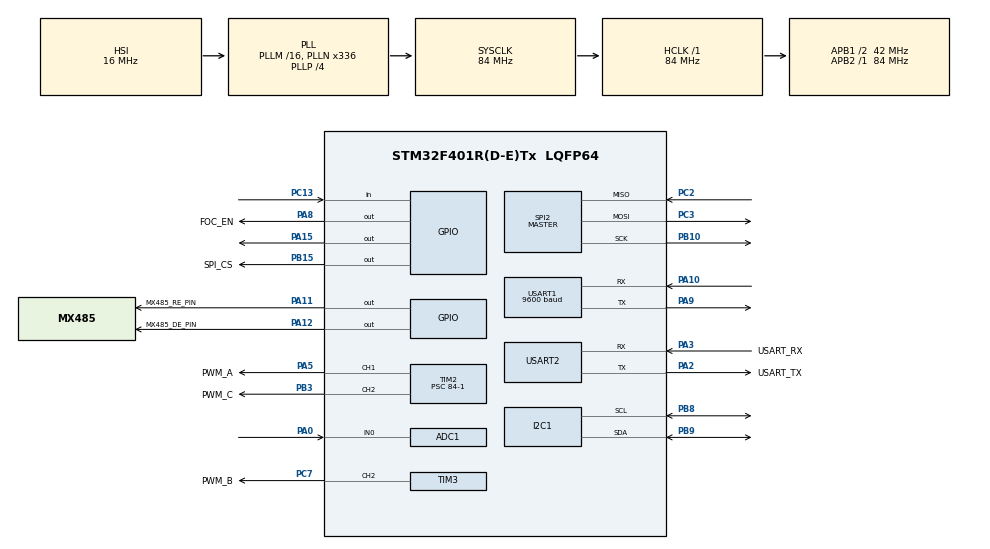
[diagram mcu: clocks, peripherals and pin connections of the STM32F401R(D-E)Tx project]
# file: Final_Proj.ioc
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ADC1.Channel-0\#ChannelRegularConversion=ADC_CHANNEL_0
ADC1.ContinuousConvMode=ENABLE
ADC1.DMAContinuousRequests=ENABLE
ADC1.NbrOfConversionFlag=1
ADC1.Rank-0\#ChannelRegularConversion=1
ADC1.SamplingTime-0\#ChannelRegularConversion=ADC_SAMPLETIME_3CYCLES
ADC1.ScanConvMode=ENABLE
ADC1.master=1
Dma.ADC1.0.Direction=DMA_PERIPH_TO_MEMORY
Dma.ADC1.0.FIFOMode=DMA_FIFOMODE_DISABLE
Dma.ADC1.0.Instance=DMA2_Stream0
Dma.ADC1.0.MemDataAlignment=DMA_MDATAALIGN_HALFWORD
Dma.ADC1.0.MemInc=DMA_MINC_ENABLE
Dma.ADC1.0.Mode=DMA_CIRCULAR
Dma.ADC1.0.PeriphDataAlignment=DMA_PDATAALIGN_HALFWORD
Dma.ADC1.0.PeriphInc=DMA_PINC_DISABLE
Dma.ADC1.0.Priority=DMA_PRIORITY_LOW
Dma.Request0=ADC1
Mcu.Family=STM32F4
Mcu.Name=STM32F401R(D-E)Tx
Mcu.Package=LQFP64
NVIC.DMA2_Stream0_IRQn=true\:0\:0\:false\:false\:true\:false\:true\:true
NVIC.PriorityGroup=NVIC_PRIORITYGROUP_4
NVIC.TIM4_IRQn=true\:0\:0\:false\:false\:true\:true\:true\:true
NVIC.USART1_IRQn=true\:0\:0\:false\:false\:true\:true\:true\:true
NVIC.USART2_IRQn=true\:0\:0\:false\:false\:true\:true\:true\:true
PA0-WKUP.Signal=ADCx_IN0
PA10.Mode=Asynchronous
PA10.Signal=USART1_RX
PA11.GPIO_Label=MX485_RE_PIN
PA11.Signal=GPIO_Output
PA12.GPIO_Label=MX485_DE_PIN
PA12.Signal=GPIO_Output
PA13.Mode=Serial_Wire
PA13.Signal=SYS_JTMS-SWDIO
PA14.Mode=Serial_Wire
PA14.Signal=SYS_JTCK-SWCLK
PA15.Signal=GPIO_Output
PA2.GPIO_Label=USART_TX
PA2.GPIO_Mode=GPIO_MODE_AF_PP
PA2.GPIO_PuPd=GPIO_NOPULL
PA2.GPIO_Speed=GPIO_SPEED_FREQ_LOW
PA2.Mode=Asynchronous
PA2.Signal=USART2_TX
PA3.GPIO_Label=USART_RX
PA3.GPIO_Mode=GPIO_MODE_AF_PP
PA3.GPIO_PuPd=GPIO_NOPULL
PA3.GPIO_Speed=GPIO_SPEED_FREQ_LOW
PA3.Mode=Asynchronous
PA3.Signal=USART2_RX
PA5.GPIO_Label=PWM_A
PA5.Signal=S_TIM2_CH1_ETR
PA8.GPIO_Label=FOC_EN
PA8.Signal=GPIO_Output
PA9.Mode=Asynchronous
PA9.Signal=USART1_TX
PB10.Mode=Full_Duplex_Master
PB10.Signal=SPI2_SCK
PB15.GPIO_Label=SPI_CS
PB15.PinState=GPIO_PIN_SET
PB15.Signal=GPIO_Output
PB3.GPIO_Label=PWM_C
PB3.Signal=S_TIM2_CH2
PB8.Mode=I2C
PB8.Signal=I2C1_SCL
PB9.Mode=I2C
PB9.Signal=I2C1_SDA
PC13-ANTI_TAMP.Signal=GPIO_Input
PC14-OSC32_IN.Mode=LSE-External-Oscillator
PC14-OSC32_IN.Signal=RCC_OSC32_IN
PC15-OSC32_OUT.Mode=LSE-External-Oscillator
PC15-OSC32_OUT.Signal=RCC_OSC32_OUT
PC2.Mode=Full_Duplex_Master
PC2.Signal=SPI2_MISO
PC3.Mode=Full_Duplex_Master
PC3.Signal=SPI2_MOSI
PC7.GPIO_Label=PWM_B
PC7.Signal=S_TIM3_CH2
PH0\ -\ OSC_IN.Mode=HSE-External-Clock-Source
PH0\ -\ OSC_IN.Signal=RCC_OSC_IN
PH1\ -\ OSC_OUT.Mode=HSE-External-Clock-Source
PH1\ -\ OSC_OUT.Signal=RCC_OSC_OUT
ProjectManager.HeapSize=0x200
ProjectManager.StackSize=0x400
ProjectManager.TargetToolchain=STM32CubeIDE
RCC.48MHZClocksFreq_Value=48000000
RCC.AHBFreq_Value=84000000
RCC.APB1CLKDivider=RCC_HCLK_DIV2
RCC.APB1Freq_Value=42000000
RCC.APB1TimFreq_Value=84000000
RCC.APB2Freq_Value=84000000
RCC.APB2TimFreq_Value=84000000
RCC.CortexFreq_Value=84000000
RCC.HCLKFreq_Value=84000000
RCC.HSE_VALUE=8000000
RCC.HSI_VALUE=16000000
RCC.PLLN=336
RCC.PLLP=RCC_PLLP_DIV4
RCC.PLLQ=7
RCC.SYSCLKFreq_VALUE=84000000
RCC.SYSCLKSource=RCC_SYSCLKSOURCE_PLLCLK
RCC.VCOOutputFreq_Value=336000000
SH.ADCx_IN0.0=ADC1_IN0,IN0
SH.S_TIM2_CH1_ETR.0=TIM2_CH1,PWM Generation1 CH1
SH.S_TIM2_CH2.0=TIM2_CH2,PWM Generation2 CH2
SH.S_TIM3_CH2.0=TIM3_CH2,PWM Generation2 CH2
SPI2.CLKPhase=SPI_PHASE_2EDGE
SPI2.DataSize=SPI_DATASIZE_16BIT
SPI2.Direction=SPI_DIRECTION_2LINES
SPI2.Mode=SPI_MODE_MASTER
SPI2.VirtualType=VM_MASTER
TIM1.Period=0xffff-1
TIM1.Prescaler=84-1
TIM2.Channel-PWM\ Generation1\ CH1=TIM_CHANNEL_1
TIM2.Channel-PWM\ Generation2\ CH2=TIM_CHANNEL_2
TIM2.CounterMode=TIM_COUNTERMODE_UP
TIM2.Period=40-1
TIM2.Prescaler=84-1
TIM3.Channel-PWM\ Generation2\ CH2=TIM_CHANNEL_2
TIM3.CounterMode=TIM_COUNTERMODE_UP
TIM3.Period=40-1
TIM3.Prescaler=84-1
TIM4.Period=400-1
TIM4.Prescaler=84-1
USART1.BaudRate=9600
USART1.VirtualMode=VM_ASYNC
USART2.VirtualMode=VM_ASYNC
VP_TIM1_VS_ClockSourceINT.Mode=Internal
VP_TIM2_VS_ClockSourceINT.Mode=Internal
VP_TIM3_VS_ClockSourceINT.Mode=Internal
VP_TIM4_VS_ClockSourceINT.Mode=Internal
board=NUCLEO-F401RE

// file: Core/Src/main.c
/* USER CODE BEGIN Header */
/**
  ******************************************************************************
  * @file           : main.c
  * @brief          : Main program body
  ******************************************************************************
  * @attention
  *
  * Copyright (c) 2025 STMicroelectronics.
  * All rights reserved.
  *
  * This software is licensed under terms that can be found in the LICENSE file
  * in the root directory of this software component.
  * If no LICENSE file comes with this software, it is provided AS-IS.
  *
  ******************************************************************************
  */
/* USER CODE END Header */
#include "main.h"

/* USER CODE BEGIN Includes */
#include "bldc_driver.h"
#include "bldc_motor.h"
#include "as5048a.h"

#include <string.h>
#include <stdio.h>
#include <stdint.h>

#include "modbus_crc.h"

#include <ssd1306.h>
#include <ssd1306_fonts.h>

#include <stdlib.h>
/* USER CODE END Includes */

/* USER CODE BEGIN PD */
unsigned long timer_counter = 0;
#define ADC_DMA_SIZE 4096
/* USER CODE END PD */

ADC_HandleTypeDef hadc1;
DMA_HandleTypeDef hdma_adc1;

I2C_HandleTypeDef hi2c1;

SPI_HandleTypeDef hspi2;

TIM_HandleTypeDef htim1;
TIM_HandleTypeDef htim2;
TIM_HandleTypeDef htim3;
TIM_HandleTypeDef htim4;

UART_HandleTypeDef huart1;
UART_HandleTypeDef huart2;

/* USER CODE BEGIN PV */
char uart_buffer[128];
uint16_t dma_buf[ADC_DMA_SIZE];
#define MODBUS_SLAVE_ID 1
#define MODBUS_START_ADDR 0
#define MODBUS_REG_COUNT 2
#define MAX485_DE_PIN GPIO_PIN_12
#define MAX485_RE_PIN GPIO_PIN_11
#define MAX485_GPIO_PORT GPIOA
#define RX_BUF_SIZE 100
/* USER CODE END PV */

void SystemClock_Config(void);
static void MX_GPIO_Init(void);
static void MX_DMA_Init(void);
static void MX_USART2_UART_Init(void);
static void MX_TIM2_Init(void);
static void MX_TIM3_Init(void);
static void MX_SPI2_Init(void);
static void MX_TIM4_Init(void);
static void MX_TIM1_Init(void);
static void MX_I2C1_Init(void);
static void MX_USART1_UART_Init(void);
static void MX_ADC1_Init(void);

/* USER CODE BEGIN 0 */

uint8_t RxData[15];
uint8_t TxData[8];
uint16_t recv_data[2];
uint8_t Speed[100];
volatile float speed_f = 0.0f;
float pot_speed = 0.0f;
float modbus_speed = 0.0f;
volatile uint8_t use_modbus = 0;       // 0 = use potentiometer, 1 = use Modbus
volatile uint8_t prev_btn_state = 1;

uint8_t RxDataMat[15];

void SendModbusQuery(void) {
    TxData[0] = MODBUS_SLAVE_ID;    // Slave ID
    TxData[1] = 0x04;              // Function code
    TxData[2] = (MODBUS_START_ADDR >> 8) & 0xFF;
    TxData[3] = MODBUS_START_ADDR & 0xFF;
    TxData[4] = (MODBUS_REG_COUNT >> 8) & 0xFF;
    TxData[5] = MODBUS_REG_COUNT & 0xFF;

    uint16_t crc = crc16(TxData, 6);
    TxData[6] = crc & 0xFF;
    TxData[7] = (crc >> 8) & 0xFF;

    // Send the Modbus query
    HAL_UART_Transmit(&huart1, TxData, 8, HAL_MAX_DELAY);
}

void MAX485_EnableTransmit(void) {
    HAL_GPIO_WritePin(MAX485_GPIO_PORT, MAX485_DE_PIN, GPIO_PIN_SET);
    HAL_GPIO_WritePin(MAX485_GPIO_PORT, MAX485_RE_PIN, GPIO_PIN_SET);
}

void MAX485_EnableReceive(void) {
    HAL_GPIO_WritePin(MAX485_GPIO_PORT, MAX485_DE_PIN, GPIO_PIN_RESET);
    HAL_GPIO_WritePin(MAX485_GPIO_PORT, MAX485_RE_PIN, GPIO_PIN_RESET);
}

void HAL_UARTEx_RxEventCallback(UART_HandleTypeDef *huart, uint16_t Size) {
    if (RxData[0] == MODBUS_SLAVE_ID && RxData[1] == 0x06) {
        uint16_t addr = (RxData[2] << 8) | RxData[3];
        uint16_t value = (RxData[4] << 8) | RxData[5];

        if (addr == MODBUS_START_ADDR) {
            modbus_speed = (float)value / 10.0f;

        }

        MAX485_EnableTransmit();
        HAL_UART_Transmit(&huart1, RxData, 8, HAL_MAX_DELAY);
        MAX485_EnableReceive();  // Back to listen mode
    }

    HAL_UARTEx_ReceiveToIdle_IT(&huart1, RxData, 9);
}

void update_pot_speed()
{
    uint16_t adc_val = dma_buf[0];
    pot_speed = ((float)adc_val / 4095.0f) * 60.0f;
}

void SSD1306_InitDisplay(void) {
   ssd1306_Init();
   ssd1306_Fill(Black);
   ssd1306_UpdateScreen();
}

void Display_Velocity(float speed) {

    float vel = get_vel();

	char vel_str[32];
	char speed_str[32];

    sprintf(vel_str, "Target: %.2f rad/s", speed);
    sprintf(speed_str, "Actual: %.2f rad/s", vel);

    ssd1306_Fill(Black);

    ssd1306_SetCursor(0, 20);
    ssd1306_WriteString(vel_str, Font_7x10, White);

    ssd1306_SetCursor(0, 40);
    ssd1306_WriteString(speed_str, Font_7x10, White);

    ssd1306_UpdateScreen();
}

/* USER CODE END 0 */

int main(void)
{

  /* MCU Configuration--------------------------------------------------------*/

  /* Reset of all peripherals, Initializes the Flash interface and the Systick. */
  HAL_Init();

  /* Configure the system clock */
  SystemClock_Config();

  /* Initialize all configured peripherals */
  MX_GPIO_Init();
  MX_DMA_Init();
  MX_USART2_UART_Init();
  MX_TIM2_Init();
  MX_TIM3_Init();
  MX_SPI2_Init();
  MX_TIM4_Init();
  MX_TIM1_Init();
  MX_I2C1_Init();
  MX_USART1_UART_Init();
  MX_ADC1_Init();
  /* USER CODE BEGIN 2 */
  HAL_UARTEx_ReceiveToIdle_IT(&huart1, RxData, 9);
  HAL_ADC_Start_DMA(&hadc1, (uint32_t *)dma_buf, ADC_DMA_SIZE);
  /* Magnetic encoder initialize.
   *
   * Parameters:
   * - SPI instance.
   * - SPI CS GPIO port.
   * - SPI CS GPIO pin.
   */

  as5048a_init(&hspi2, SPI_CS_GPIO_Port, SPI_CS_Pin);

  /* BLDC driver initialize.
   *
   * Parameters:
   * - Phrase A timer instance.
   * - Phrase A timer channel.
   * - Phrase B timer instance.
   * - Phrase B timer channel.
   * - Phrase C timer instance.
   * - Phrase C timer channel.
   * - FOC enable GPIO port.
   * - FOC enable GPIO pin.
   * - Voltage supply for driver.
   * - Voltage limit for driver (Use half of the supply voltage for open-loop
   *   control).
   */

  driver_init(&htim2,
              TIM_CHANNEL_1,
              &htim3,
              TIM_CHANNEL_2,
              &htim2,
              TIM_CHANNEL_2,
              FOC_EN_GPIO_Port,
              FOC_EN_Pin,
              20.0f,
              20.0f);

  /* Open-loop BLDC motor control initialize.
   *
   * Parameters:
   * - Pole pairs.
   * - Motor voltage limit (Should be half of the driver voltage limit).
   */
  //bldc_open_loop_init(7, 10.0f);

  /* Closed-loop BLDC motor velocity control initialize.
   *
   * Parameters:
   * - Pole pairs.
   * - Sensor aligning phrase voltage limit.
   * - Sensor aligning phrase time.
   * - Low pass filter structure.
   * - PID control structure
   * - Motor voltage limit.
   */
  bldc_vel_ctrl_init(7,
                     5.0f,
                     5.0f,
                     (struct lpf_s){.tf = 0.0001f},
                     (struct pid_s){
                       .p = 12.0f,
                       .i = 35.0f,
                       .d = 0.05f,
                       .ramp = 1000.0f,
                       .limit = 20.0f
                     },
                     20);

  /* Target speed. */

  /* Initialize FOC. */

  foc_init();

  /* Start timers. */

  HAL_TIM_Base_Start(&htim1);
  HAL_TIM_Base_Start_IT(&htim4);
  SSD1306_InitDisplay();
  /* USER CODE END 2 */

  /* Infinite loop */
  while (1)
  {

    /* USER CODE BEGIN 3 */
	  Display_Velocity(speed_f);
	  uint8_t vel = (uint8_t)get_vel();
	  sprintf(uart_buffer, "%d\r\n", vel);
	  HAL_UART_Transmit(&huart2, (uint8_t *)uart_buffer, strlen(uart_buffer), HAL_MAX_DELAY);
	  HAL_Delay(100);

  }
  /* USER CODE END 3 */
}

void SystemClock_Config(void)
{
  RCC_OscInitTypeDef RCC_OscInitStruct = {0};
  RCC_ClkInitTypeDef RCC_ClkInitStruct = {0};

  /** Configure the main internal regulator output voltage
  */
  __HAL_RCC_PWR_CLK_ENABLE();
  __HAL_PWR_VOLTAGESCALING_CONFIG(PWR_REGULATOR_VOLTAGE_SCALE2);

  /** Initializes the RCC Oscillators according to the specified parameters
  * in the RCC_OscInitTypeDef structure.
  */
  RCC_OscInitStruct.OscillatorType = RCC_OSCILLATORTYPE_HSI;
  RCC_OscInitStruct.HSIState = RCC_HSI_ON;
  RCC_OscInitStruct.HSICalibrationValue = RCC_HSICALIBRATION_DEFAULT;
  RCC_OscInitStruct.PLL.PLLState = RCC_PLL_ON;
  RCC_OscInitStruct.PLL.PLLSource = RCC_PLLSOURCE_HSI;
  RCC_OscInitStruct.PLL.PLLM = 16;
  RCC_OscInitStruct.PLL.PLLN = 336;
  RCC_OscInitStruct.PLL.PLLP = RCC_PLLP_DIV4;
  RCC_OscInitStruct.PLL.PLLQ = 7;
  if (HAL_RCC_OscConfig(&RCC_OscInitStruct) != HAL_OK)
  {
    Error_Handler();
  }

  /** Initializes the CPU, AHB and APB buses clocks
  */
  RCC_ClkInitStruct.ClockType = RCC_CLOCKTYPE_HCLK|RCC_CLOCKTYPE_SYSCLK
                              |RCC_CLOCKTYPE_PCLK1|RCC_CLOCKTYPE_PCLK2;
  RCC_ClkInitStruct.SYSCLKSource = RCC_SYSCLKSOURCE_PLLCLK;
  RCC_ClkInitStruct.AHBCLKDivider = RCC_SYSCLK_DIV1;
  RCC_ClkInitStruct.APB1CLKDivider = RCC_HCLK_DIV2;
  RCC_ClkInitStruct.APB2CLKDivider = RCC_HCLK_DIV1;

  if (HAL_RCC_ClockConfig(&RCC_ClkInitStruct, FLASH_LATENCY_2) != HAL_OK)
  {
    Error_Handler();
  }
}

static void MX_ADC1_Init(void)
{

  ADC_ChannelConfTypeDef sConfig = {0};

  /** Configure the global features of the ADC (Clock, Resolution, Data Alignment and number of conversion)
  */
  hadc1.Instance = ADC1;
  hadc1.Init.ClockPrescaler = ADC_CLOCK_SYNC_PCLK_DIV4;
  hadc1.Init.Resolution = ADC_RESOLUTION_12B;
  hadc1.Init.ScanConvMode = ENABLE;
  hadc1.Init.ContinuousConvMode = ENABLE;
  hadc1.Init.DiscontinuousConvMode = DISABLE;
  hadc1.Init.ExternalTrigConvEdge = ADC_EXTERNALTRIGCONVEDGE_NONE;
  hadc1.Init.ExternalTrigConv = ADC_SOFTWARE_START;
  hadc1.Init.DataAlign = ADC_DATAALIGN_RIGHT;
  hadc1.Init.NbrOfConversion = 1;
  hadc1.Init.DMAContinuousRequests = ENABLE;
  hadc1.Init.EOCSelection = ADC_EOC_SINGLE_CONV;
  if (HAL_ADC_Init(&hadc1) != HAL_OK)
  {
    Error_Handler();
  }

  /** Configure for the selected ADC regular channel its corresponding rank in the sequencer and its sample time.
  */
  sConfig.Channel = ADC_CHANNEL_0;
  sConfig.Rank = 1;
  sConfig.SamplingTime = ADC_SAMPLETIME_3CYCLES;
  if (HAL_ADC_ConfigChannel(&hadc1, &sConfig) != HAL_OK)
  {
    Error_Handler();
  }

}

static void MX_I2C1_Init(void)
{

  hi2c1.Instance = I2C1;
  hi2c1.Init.ClockSpeed = 100000;
  hi2c1.Init.DutyCycle = I2C_DUTYCYCLE_2;
  hi2c1.Init.OwnAddress1 = 0;
  hi2c1.Init.AddressingMode = I2C_ADDRESSINGMODE_7BIT;
  hi2c1.Init.DualAddressMode = I2C_DUALADDRESS_DISABLE;
  hi2c1.Init.OwnAddress2 = 0;
  hi2c1.Init.GeneralCallMode = I2C_GENERALCALL_DISABLE;
  hi2c1.Init.NoStretchMode = I2C_NOSTRETCH_DISABLE;
  if (HAL_I2C_Init(&hi2c1) != HAL_OK)
  {
    Error_Handler();
  }

}

static void MX_SPI2_Init(void)
{

  /* SPI2 parameter configuration*/
  hspi2.Instance = SPI2;
  hspi2.Init.Mode = SPI_MODE_MASTER;
  hspi2.Init.Direction = SPI_DIRECTION_2LINES;
  hspi2.Init.DataSize = SPI_DATASIZE_16BIT;
  hspi2.Init.CLKPolarity = SPI_POLARITY_LOW;
  hspi2.Init.CLKPhase = SPI_PHASE_2EDGE;
  hspi2.Init.NSS = SPI_NSS_SOFT;
  hspi2.Init.BaudRatePrescaler = SPI_BAUDRATEPRESCALER_2;
  hspi2.Init.FirstBit = SPI_FIRSTBIT_MSB;
  hspi2.Init.TIMode = SPI_TIMODE_DISABLE;
  hspi2.Init.CRCCalculation = SPI_CRCCALCULATION_DISABLE;
  hspi2.Init.CRCPolynomial = 10;
  if (HAL_SPI_Init(&hspi2) != HAL_OK)
  {
    Error_Handler();
  }

}

static void MX_TIM1_Init(void)
{

  TIM_ClockConfigTypeDef sClockSourceConfig = {0};
  TIM_MasterConfigTypeDef sMasterConfig = {0};

  htim1.Instance = TIM1;
  htim1.Init.Prescaler = 84-1;
  htim1.Init.CounterMode = TIM_COUNTERMODE_UP;
  htim1.Init.Period = 0xffff-1;
  htim1.Init.ClockDivision = TIM_CLOCKDIVISION_DIV1;
  htim1.Init.RepetitionCounter = 0;
  htim1.Init.AutoReloadPreload = TIM_AUTORELOAD_PRELOAD_DISABLE;
  if (HAL_TIM_Base_Init(&htim1) != HAL_OK)
  {
    Error_Handler();
  }
  sClockSourceConfig.ClockSource = TIM_CLOCKSOURCE_INTERNAL;
  if (HAL_TIM_ConfigClockSource(&htim1, &sClockSourceConfig) != HAL_OK)
  {
    Error_Handler();
  }
  sMasterConfig.MasterOutputTrigger = TIM_TRGO_RESET;
  sMasterConfig.MasterSlaveMode = TIM_MASTERSLAVEMODE_DISABLE;
  if (HAL_TIMEx_MasterConfigSynchronization(&htim1, &sMasterConfig) != HAL_OK)
  {
    Error_Handler();
  }

}

static void MX_TIM2_Init(void)
{

  TIM_ClockConfigTypeDef sClockSourceConfig = {0};
  TIM_MasterConfigTypeDef sMasterConfig = {0};
  TIM_OC_InitTypeDef sConfigOC = {0};

  htim2.Instance = TIM2;
  htim2.Init.Prescaler = 84-1;
  htim2.Init.CounterMode = TIM_COUNTERMODE_UP;
  htim2.Init.Period = 40-1;
  htim2.Init.ClockDivision = TIM_CLOCKDIVISION_DIV1;
  htim2.Init.AutoReloadPreload = TIM_AUTORELOAD_PRELOAD_DISABLE;
  if (HAL_TIM_Base_Init(&htim2) != HAL_OK)
  {
    Error_Handler();
  }
  sClockSourceConfig.ClockSource = TIM_CLOCKSOURCE_INTERNAL;
  if (HAL_TIM_ConfigClockSource(&htim2, &sClockSourceConfig) != HAL_OK)
  {
    Error_Handler();
  }
  if (HAL_TIM_PWM_Init(&htim2) != HAL_OK)
  {
    Error_Handler();
  }
  sMasterConfig.MasterOutputTrigger = TIM_TRGO_RESET;
  sMasterConfig.MasterSlaveMode = TIM_MASTERSLAVEMODE_DISABLE;
  if (HAL_TIMEx_MasterConfigSynchronization(&htim2, &sMasterConfig) != HAL_OK)
  {
    Error_Handler();
  }
  sConfigOC.OCMode = TIM_OCMODE_PWM1;
  sConfigOC.Pulse = 0;
  sConfigOC.OCPolarity = TIM_OCPOLARITY_HIGH;
  sConfigOC.OCFastMode = TIM_OCFAST_DISABLE;
  if (HAL_TIM_PWM_ConfigChannel(&htim2, &sConfigOC, TIM_CHANNEL_1) != HAL_OK)
  {
    Error_Handler();
  }
  if (HAL_TIM_PWM_ConfigChannel(&htim2, &sConfigOC, TIM_CHANNEL_2) != HAL_OK)
  {
    Error_Handler();
  }
  HAL_TIM_MspPostInit(&htim2);

}

static void MX_TIM3_Init(void)
{

  TIM_ClockConfigTypeDef sClockSourceConfig = {0};
  TIM_MasterConfigTypeDef sMasterConfig = {0};
  TIM_OC_InitTypeDef sConfigOC = {0};

  htim3.Instance = TIM3;
  htim3.Init.Prescaler = 84-1;
  htim3.Init.CounterMode = TIM_COUNTERMODE_UP;
  htim3.Init.Period = 40-1;
  htim3.Init.ClockDivision = TIM_CLOCKDIVISION_DIV1;
  htim3.Init.AutoReloadPreload = TIM_AUTORELOAD_PRELOAD_DISABLE;
  if (HAL_TIM_Base_Init(&htim3) != HAL_OK)
  {
    Error_Handler();
  }
  sClockSourceConfig.ClockSource = TIM_CLOCKSOURCE_INTERNAL;
  if (HAL_TIM_ConfigClockSource(&htim3, &sClockSourceConfig) != HAL_OK)
  {
    Error_Handler();
  }
  if (HAL_TIM_PWM_Init(&htim3) != HAL_OK)
  {
    Error_Handler();
  }
  sMasterConfig.MasterOutputTrigger = TIM_TRGO_RESET;
  sMasterConfig.MasterSlaveMode = TIM_MASTERSLAVEMODE_DISABLE;
  if (HAL_TIMEx_MasterConfigSynchronization(&htim3, &sMasterConfig) != HAL_OK)
  {
    Error_Handler();
  }
  sConfigOC.OCMode = TIM_OCMODE_PWM1;
  sConfigOC.Pulse = 0;
  sConfigOC.OCPolarity = TIM_OCPOLARITY_HIGH;
  sConfigOC.OCFastMode = TIM_OCFAST_DISABLE;
  if (HAL_TIM_PWM_ConfigChannel(&htim3, &sConfigOC, TIM_CHANNEL_2) != HAL_OK)
  {
    Error_Handler();
  }
  HAL_TIM_MspPostInit(&htim3);

}

static void MX_TIM4_Init(void)
{

  TIM_ClockConfigTypeDef sClockSourceConfig = {0};
  TIM_MasterConfigTypeDef sMasterConfig = {0};

  htim4.Instance = TIM4;
  htim4.Init.Prescaler = 84-1;
  htim4.Init.CounterMode = TIM_COUNTERMODE_UP;
  htim4.Init.Period = 400-1;
  htim4.Init.ClockDivision = TIM_CLOCKDIVISION_DIV1;
  htim4.Init.AutoReloadPreload = TIM_AUTORELOAD_PRELOAD_DISABLE;
  if (HAL_TIM_Base_Init(&htim4) != HAL_OK)
  {
    Error_Handler();
  }
  sClockSourceConfig.ClockSource = TIM_CLOCKSOURCE_INTERNAL;
  if (HAL_TIM_ConfigClockSource(&htim4, &sClockSourceConfig) != HAL_OK)
  {
    Error_Handler();
  }
  sMasterConfig.MasterOutputTrigger = TIM_TRGO_RESET;
  sMasterConfig.MasterSlaveMode = TIM_MASTERSLAVEMODE_DISABLE;
  if (HAL_TIMEx_MasterConfigSynchronization(&htim4, &sMasterConfig) != HAL_OK)
  {
    Error_Handler();
  }

}

static void MX_USART1_UART_Init(void)
{

  huart1.Instance = USART1;
  huart1.Init.BaudRate = 9600;
  huart1.Init.WordLength = UART_WORDLENGTH_8B;
  huart1.Init.StopBits = UART_STOPBITS_1;
  huart1.Init.Parity = UART_PARITY_NONE;
  huart1.Init.Mode = UART_MODE_TX_RX;
  huart1.Init.HwFlowCtl = UART_HWCONTROL_NONE;
  huart1.Init.OverSampling = UART_OVERSAMPLING_16;
  if (HAL_UART_Init(&huart1) != HAL_OK)
  {
    Error_Handler();
  }

}

static void MX_USART2_UART_Init(void)
{

  huart2.Instance = USART2;
  huart2.Init.BaudRate = 115200;
  huart2.Init.WordLength = UART_WORDLENGTH_8B;
  huart2.Init.StopBits = UART_STOPBITS_1;
  huart2.Init.Parity = UART_PARITY_NONE;
  huart2.Init.Mode = UART_MODE_TX_RX;
  huart2.Init.HwFlowCtl = UART_HWCONTROL_NONE;
  huart2.Init.OverSampling = UART_OVERSAMPLING_16;
  if (HAL_UART_Init(&huart2) != HAL_OK)
  {
    Error_Handler();
  }

}

static void MX_DMA_Init(void)
{

  /* DMA controller clock enable */
  __HAL_RCC_DMA2_CLK_ENABLE();

  /* DMA interrupt init */
  /* DMA2_Stream0_IRQn interrupt configuration */
  HAL_NVIC_SetPriority(DMA2_Stream0_IRQn, 0, 0);
  HAL_NVIC_EnableIRQ(DMA2_Stream0_IRQn);

}

static void MX_GPIO_Init(void)
{
  GPIO_InitTypeDef GPIO_InitStruct = {0};

  /* GPIO Ports Clock Enable */
  __HAL_RCC_GPIOC_CLK_ENABLE();
  __HAL_RCC_GPIOH_CLK_ENABLE();
  __HAL_RCC_GPIOA_CLK_ENABLE();
  __HAL_RCC_GPIOB_CLK_ENABLE();

  /*Configure GPIO pin Output Level */
  HAL_GPIO_WritePin(SPI_CS_GPIO_Port, SPI_CS_Pin, GPIO_PIN_SET);

  /*Configure GPIO pin Output Level */
  HAL_GPIO_WritePin(GPIOA, FOC_EN_Pin|MX485_RE_PIN_Pin|MX485_DE_PIN_Pin|GPIO_PIN_15, GPIO_PIN_RESET);

  /*Configure GPIO pin : PC13 */
  GPIO_InitStruct.Pin = GPIO_PIN_13;
  GPIO_InitStruct.Mode = GPIO_MODE_INPUT;
  GPIO_InitStruct.Pull = GPIO_NOPULL;
  HAL_GPIO_Init(GPIOC, &GPIO_InitStruct);

  /*Configure GPIO pin : SPI_CS_Pin */
  GPIO_InitStruct.Pin = SPI_CS_Pin;
  GPIO_InitStruct.Mode = GPIO_MODE_OUTPUT_PP;
  GPIO_InitStruct.Pull = GPIO_NOPULL;
  GPIO_InitStruct.Speed = GPIO_SPEED_FREQ_LOW;
  HAL_GPIO_Init(SPI_CS_GPIO_Port, &GPIO_InitStruct);

  /*Configure GPIO pins : FOC_EN_Pin MX485_RE_PIN_Pin MX485_DE_PIN_Pin PA15 */
  GPIO_InitStruct.Pin = FOC_EN_Pin|MX485_RE_PIN_Pin|MX485_DE_PIN_Pin|GPIO_PIN_15;
  GPIO_InitStruct.Mode = GPIO_MODE_OUTPUT_PP;
  GPIO_InitStruct.Pull = GPIO_NOPULL;
  GPIO_InitStruct.Speed = GPIO_SPEED_FREQ_LOW;
  HAL_GPIO_Init(GPIOA, &GPIO_InitStruct);

}

/* USER CODE BEGIN 4 */

void HAL_TIM_PeriodElapsedCallback(TIM_HandleTypeDef *htim)
{
  /* USER CODE BEGIN Callback 0 */

  /* USER CODE END Callback 0 */
  if (htim->Instance == TIM4)
  {
    timer_counter = __HAL_TIM_GET_COUNTER(&htim1);
    __HAL_TIM_SET_COUNTER(&htim1, 0);

    const float dt_while = (float)timer_counter * 1e-6f;

    // Update potentiometer speed from ADC
    update_pot_speed();

    // Read toggle switch on PC13
    GPIO_PinState current_btn_state = HAL_GPIO_ReadPin(GPIOC, GPIO_PIN_13);

            // Toggle on falling edge (button press)
	if (prev_btn_state == GPIO_PIN_SET && current_btn_state == GPIO_PIN_RESET)
	{
		use_modbus = !use_modbus;  // Toggle the mode
	}

	prev_btn_state = current_btn_state;

	if (use_modbus)
	{
		speed_f = modbus_speed;
		HAL_GPIO_WritePin(GPIOA, GPIO_PIN_15, GPIO_PIN_SET);  // Modbus mode indicator
	}
	else
	{
		speed_f = pot_speed;
		HAL_GPIO_WritePin(GPIOA, GPIO_PIN_15, GPIO_PIN_RESET); // Pot mode indicator
	}
	float actual_velocity = get_vel();

    loop_foc();
    bldc_move(speed_f, dt_while);
  }

  /* USER CODE END Callback 1 */
}

/* USER CODE END 4 */

void Error_Handler(void)
{
  __disable_irq();
  while (1) { }
}
